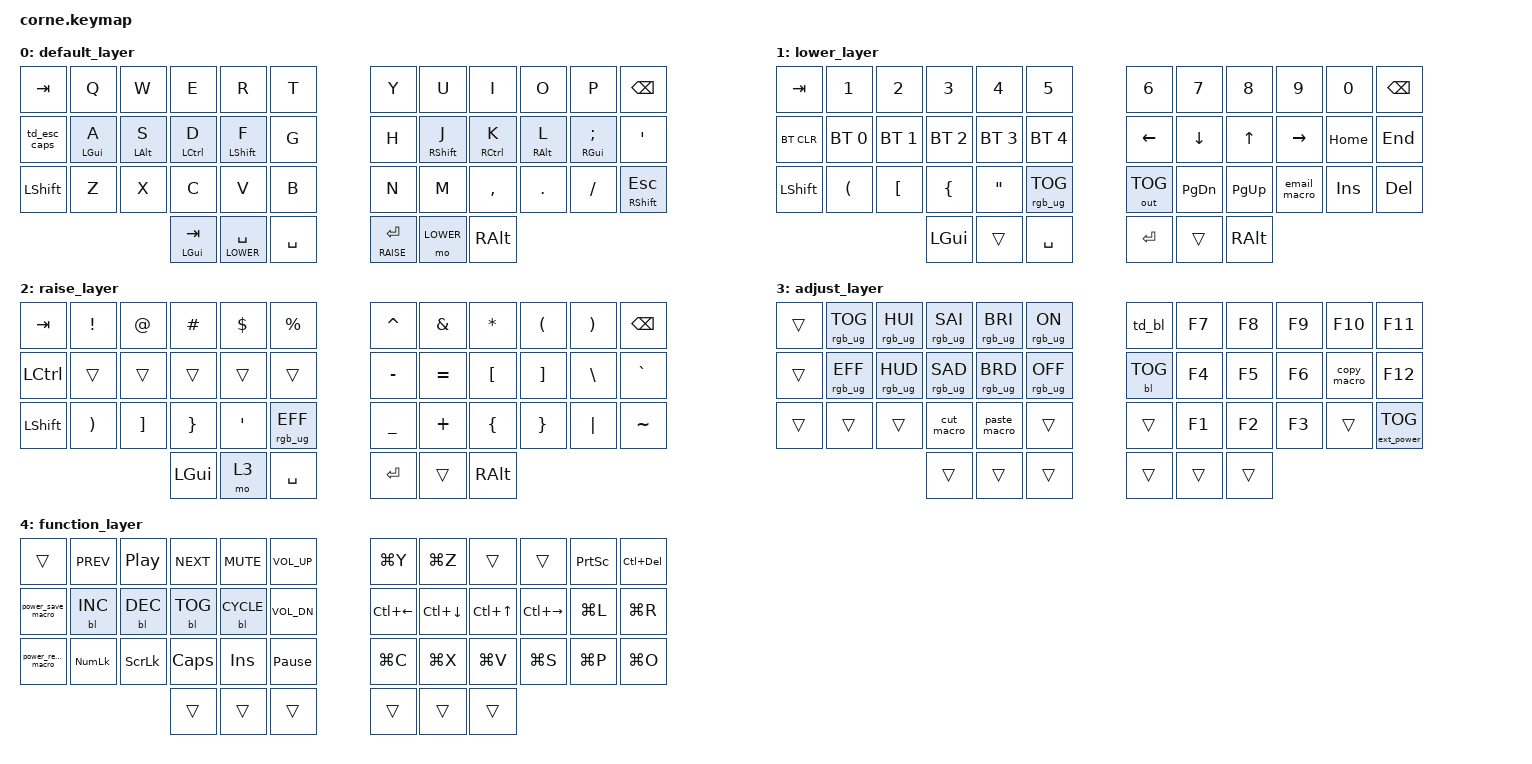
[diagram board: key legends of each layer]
/*
 * Copyright (c) 2020 The ZMK Contributors
 *
 * SPDX-License-Identifier: MIT
 */

#include <behaviors.dtsi>
#include <dt-bindings/zmk/keys.h>
#include <dt-bindings/zmk/bt.h>
#include <dt-bindings/zmk/rgb.h>
#include <dt-bindings/zmk/ext_power.h>
#include <dt-bindings/zmk/outputs.h>
#include <dt-bindings/zmk/backlight.h>  // Adicionado para controle dos LEDs por tecla

// Definições para melhorias avançadas
#define DEFAULT 0
#define LOWER   1
#define RAISE   2
#define ADJUST   3
#define FUNC    4  // Nova camada de funções adicionada

// Tempo em ms para debouncing de chord e combos
#define COMBO_TERM 50
#define TAPPING_TERM 200
#define QUICK_TAP 175

// Otimização para teclados low profile
#define LP_TAP_TERM 180  // Tempo de tapping reduzido para teclas de perfil baixo

/* DESENHOS DO TECLADO POR CAMADA */

/* Camada 0 (Default) - QWERTY
 * ┌───┬───┬───┬───┬───┬───┐   ┌───┬───┬───┬───┬───┬───┐
 * │Tab│ Q │ W │ E │ R │ T │   │ Y │ U │ I │ O │ P │Bsp│
 * ├───┼───┼───┼───┼───┼───┤   ├───┼───┼───┼───┼───┼───┤
 * │Ctl│ A │ S │ D │ F │ G │   │ H │ J │ K │ L │ ; │ ' │
 * ├───┼───┼───┼───┼───┼───┤   ├───┼───┼───┼───┼───┼───┤
 * │Sft│ Z │ X │ C │ V │ B │   │ N │ M │ , │ . │ / │Esc│
 * └───┴───┴───┼───┼───┼───┤   ├───┼───┼───┼───┴───┴───┘
 *             │GUI│LWR│SPC│   │ENT│RSE│ALT│
 *             └───┴───┴───┘   └───┴───┴───┘
 */

 / {
    // Definição de macros úteis
    macros {
        email_macro: email_macro {
            label = "email_macro";
            compatible = "zmk,behavior-macro";
            #binding-cells = <0>;
            bindings = <&macro_tap &kp S &kp E &kp U &kp AT &kp E &kp M &kp A &kp I &kp L &kp DOT &kp C &kp O &kp M>;
        };
        
        copy_macro: copy_macro {
            label = "copy_macro";
            compatible = "zmk,behavior-macro";
            #binding-cells = <0>;
            bindings = <&macro_press &kp LCTRL>, <&macro_tap &kp C>, <&macro_release &kp LCTRL>;
        };

        cut_macro: cut_macro {
            label = "cut_macro";
            compatible = "zmk,behavior-macro";
            #binding-cells = <0>;
            bindings = <&macro_press &kp LCTRL>, <&macro_tap &kp X>, <&macro_release &kp LCTRL>;
        };

        paste_macro: paste_macro {
            label = "paste_macro";
            compatible = "zmk,behavior-macro";
            #binding-cells = <0>;
            bindings = <&macro_press &kp LCTRL>, <&macro_tap &kp V>, <&macro_release &kp LCTRL>;
        };
        
        // Macro para economia de bateria - desliga LEDs e display
        power_save_macro: power_save_macro {
            label = "power_save_macro";
            compatible = "zmk,behavior-macro";
            #binding-cells = <0>;
            bindings = <&macro_tap &rgb_ug RGB_OFF &bl BL_OFF>;
        };
        
        // Macro para restaurar LEDs ao estado anterior
        power_restore_macro: power_restore_macro {
            label = "power_restore_macro";
            compatible = "zmk,behavior-macro";
            #binding-cells = <0>;
            bindings = <&macro_tap &rgb_ug RGB_ON &bl BL_ON>;
        };
    };

    // Combos - combinações de teclas para funções adicionais
    combos {
        compatible = "zmk,combos";
        combo_esc {
            timeout-ms = <COMBO_TERM>;
            key-positions = <0 1>;  // Tab + Q = ESC
            bindings = <&kp ESC>;
        };
        
        combo_del {
            timeout-ms = <COMBO_TERM>;
            key-positions = <10 11>;  // P + Backspace = Delete
            bindings = <&kp DEL>;
        };
        
        combo_capsword {
            timeout-ms = <COMBO_TERM>;
            key-positions = <13 16>;  // A + D = CAPSWORD
            bindings = <&caps_word>;
        };
        
        combo_bluetoothclear {
            timeout-ms = <COMBO_TERM>;
            key-positions = <1 4 7>;  // Q + R + Y = BT Clear
            bindings = <&bt BT_CLR>;
        };
        
        // Combo para modo de economia de energia
        combo_powersave {
            timeout-ms = <COMBO_TERM>;
            key-positions = <6 9>;  // Y + O = Modo Economia
            bindings = <&power_save_macro>;
        };
        
        // Combo para restaurar energia
        combo_powerrestore {
            timeout-ms = <COMBO_TERM>;
            key-positions = <7 8>;  // U + I = Restaurar Energia
            bindings = <&power_restore_macro>;
        };
        
        // Combo para acessar camada de funções
        combo_function_layer {
            timeout-ms = <COMBO_TERM>;
            key-positions = <16 19>;  // F + J = Camada de Funções
            bindings = <&mo FUNC>;
        };
    };

    // Comportamentos para tap-dance e modificadores homerow
    behaviors {
        // Comportamento para modificadores nas teclas de digitação - homerow mods
        hm: homerow_mods {
            compatible = "zmk,behavior-hold-tap";
            label = "HOMEROW_MODS";
            #binding-cells = <2>;
            tapping-term-ms = <LP_TAP_TERM>; // Otimizado para low profile
            quick-tap-ms = <QUICK_TAP>;
            flavor = "tap-preferred";
            bindings = <&kp>, <&kp>;
        };
        
        // Tap-dance para teclas duplas
        td_esc_caps: tap_dance_esc_caps {
            compatible = "zmk,behavior-tap-dance";
            label = "TAP_DANCE_ESC_CAPS";
            #binding-cells = <0>;
            tapping-term-ms = <LP_TAP_TERM>; // Otimizado para low profile
            bindings = <&kp ESC>, <&kp CAPS>;
        };
        
        // Comportamento para teclas de camada - otimizado para perfil baixo
        lp_lt: layer_tap_low_profile {
            compatible = "zmk,behavior-hold-tap";
            label = "LAYER_TAP_LP";
            #binding-cells = <2>;
            tapping-term-ms = <LP_TAP_TERM>; // Otimizado para low profile
            quick-tap-ms = <QUICK_TAP>;
            flavor = "balanced";
            bindings = <&mo>, <&kp>;
        };
        
        // Tap dance para controle de brilho dos LEDs
        td_bl: tap_dance_backlight {
            compatible = "zmk,behavior-tap-dance";
            label = "TAP_DANCE_BACKLIGHT";
            #binding-cells = <0>;
            tapping-term-ms = <LP_TAP_TERM>;
            bindings = <&bl BL_INC>, <&bl BL_DEC>, <&bl BL_TOG>;
        };
    };

    // Condicionais para alternar entre camadas
    conditional_layers {
        compatible = "zmk,conditional-layers";
        // Ativar camada ADJUST (3) quando as camadas LOWER (1) e RAISE (2) estiverem ativas
        adjust_layer_combo {
            if-layers = <LOWER RAISE>;
            then-layer = <ADJUST>;
        };
    };
    
    keymap {
        compatible = "zmk,keymap";

        /* Camada padrão (0)
         * Teclado QWERTY básico com modificadores nas teclas centrais
         */
        default_layer {
            bindings = <
                &kp TAB        &kp Q              &kp W        &kp E             &kp R              &kp T              &kp Y              &kp U           &kp I              &kp O         &kp P           &kp BSPC
                &td_esc_caps   &hm LGUI A         &hm LALT S   &hm LCTRL D       &hm LSHFT F        &kp G              &kp H              &hm RSHFT J     &hm RCTRL K        &hm RALT L    &hm RGUI SEMI   &kp SQT
                &kp LSHFT      &kp Z              &kp X        &kp C             &kp V              &kp B              &kp N              &kp M           &kp COMMA          &kp DOT       &kp FSLH        &mt RSHFT ESC
                                                               &mt LGUI TAB      &lp_lt LOWER SPACE &kp SPACE          &lp_lt RAISE RET   &mo LOWER       &kp RALT
            >;
        };

        /* Camada inferior (1)
         * Números, controles Bluetooth e símbolos de abertura
         */
        lower_layer {
            bindings = <
                &kp TAB        &kp N1           &kp N2           &kp N3          &kp N4          &kp N5              &kp N6           &kp N7         &kp N8         &kp N9          &kp N0          &kp BSPC
                &bt BT_CLR     &bt BT_SEL 0     &bt BT_SEL 1     &bt BT_SEL 2    &bt BT_SEL 3    &bt BT_SEL 4        &kp LEFT         &kp DOWN       &kp UP         &kp RIGHT       &kp HOME        &kp END
                &kp LSHFT      &kp LPAR         &kp LBKT         &kp LBRC        &kp DQT         &rgb_ug RGB_TOG     &out OUT_TOG     &kp PG_DN      &kp PG_UP      &email_macro    &kp INS         &kp DEL
                                                                 &kp LGUI        &trans          &kp SPACE           &kp RET          &trans         &kp RALT
            >;
        };

        /* Camada superior (2)
         * Símbolos e símbolos de fechamento
         */
        raise_layer {
            bindings = <
                &kp TAB     &kp EXCL   &kp AT     &kp HASH   &kp DLLR   &kp PRCNT        &kp CARET  &kp AMPS   &kp ASTRK  &kp LPAR   &kp RPAR   &kp BSPC
                &kp LCTRL   &trans     &trans     &trans     &trans     &trans           &kp MINUS  &kp EQUAL  &kp LBKT   &kp RBKT   &kp BSLH   &kp GRAVE
                &kp LSHFT   &kp RPAR   &kp RBKT   &kp RBRC   &kp SQT    &rgb_ug RGB_EFF  &kp UNDER  &kp PLUS   &kp LBRC   &kp RBRC   &kp PIPE   &kp TILDE
                                                  &kp LGUI   &mo 3      &kp SPACE        &kp RET    &trans     &kp RALT
            >;
        };

        /* Camada de ajuste (3)
         * Controles RGB e configurações
         */
        adjust_layer {
            bindings = <
                &trans      &rgb_ug RGB_TOG  &rgb_ug RGB_HUI  &rgb_ug RGB_SAI  &rgb_ug RGB_BRI  &rgb_ug RGB_ON     &td_bl      &kp F7      &kp F8      &kp F9      &kp F10      &kp F11
                &trans      &rgb_ug RGB_EFF  &rgb_ug RGB_HUD  &rgb_ug RGB_SAD  &rgb_ug RGB_BRD  &rgb_ug RGB_OFF    &bl BL_TOG  &kp F4      &kp F5      &kp F6      &copy_macro  &kp F12
                &trans      &trans           &trans           &cut_macro       &paste_macro     &trans             &trans      &kp F1      &kp F2      &kp F3      &trans       &ext_power EP_TOG
                                                              &trans           &trans           &trans             &trans      &trans      &trans
            >;
        };
        
        /* Nova camada de funções (4)
         * Controles para mídia, economia de energia e funções extras
         */
        function_layer {
            bindings = <
                &trans          &kp C_PREV      &kp C_PP        &kp C_NEXT      &kp C_MUTE     &kp C_VOL_UP     &kp LG(Y)     &kp LG(Z)     &trans        &trans        &kp PSCRN     &kp LC(DEL)
                &power_save_macro &bl BL_INC    &bl BL_DEC      &bl BL_TOG      &bl BL_CYCLE   &kp C_VOL_DN     &kp LC(LEFT)  &kp LC(DOWN)  &kp LC(UP)    &kp LC(RIGHT) &kp LG(L)     &kp LG(R)
                &power_restore_macro &kp KP_NUM &kp SLCK        &kp CAPS        &kp INS        &kp PAUSE_BREAK  &kp LG(C)     &kp LG(X)     &kp LG(V)     &kp LG(S)     &kp LG(P)     &kp LG(O)
                                                                &trans          &trans         &trans           &trans        &trans        &trans
            >;
        };
    };
};
